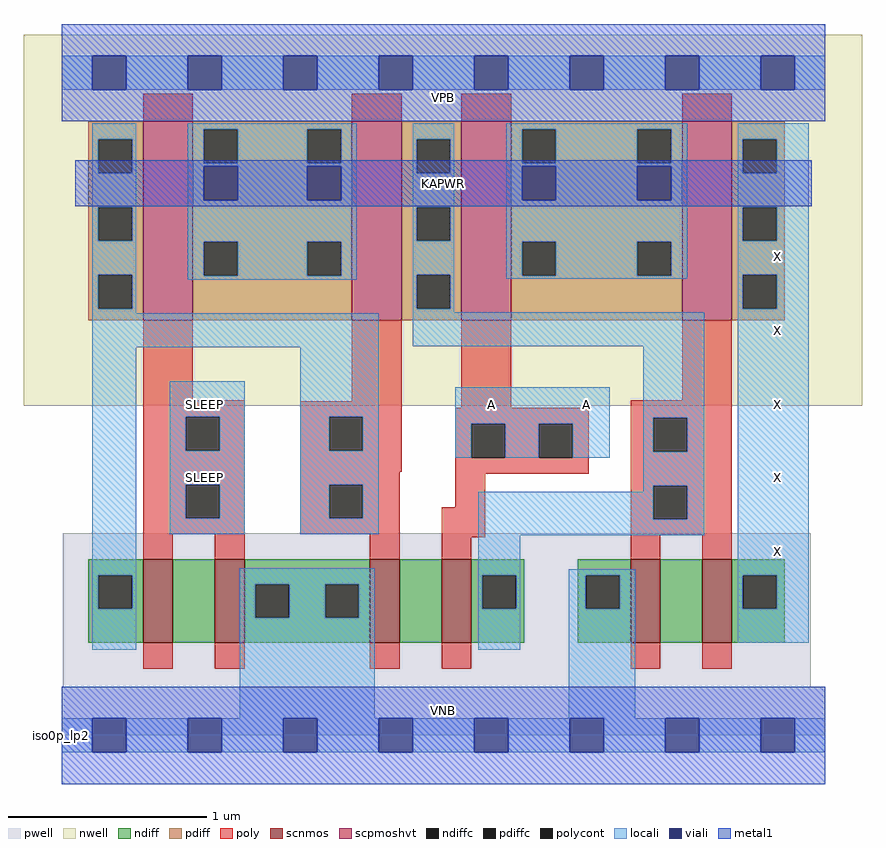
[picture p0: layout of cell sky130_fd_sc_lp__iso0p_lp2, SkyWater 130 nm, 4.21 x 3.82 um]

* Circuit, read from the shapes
.subckt sky130_fd_sc_lp__iso0p_lp2 A SLEEP KAPWR VGND VNB VPB VPWR X
XM1 n1 SLEEP n2 VNB sky130_fd_pr__nfet_01v8 w=0.42 l=0.15
XM2 VGND SLEEP n1 VNB sky130_fd_pr__nfet_01v8 w=0.42 l=0.15
XM3 n3 n2 VGND VNB sky130_fd_pr__nfet_01v8 w=0.42 l=0.15
XM4 n4 A n3 VNB sky130_fd_pr__nfet_01v8 w=0.42 l=0.15
XM5 n5 n4 VGND VNB sky130_fd_pr__nfet_01v8 w=0.42 l=0.15
XM6 X n4 n5 VNB sky130_fd_pr__nfet_01v8 w=0.42 l=0.15
XM7 KAPWR SLEEP n2 VPB sky130_fd_pr__pfet_01v8_hvt w=1 l=0.25
XM8 n4 n2 KAPWR VPB sky130_fd_pr__pfet_01v8_hvt w=1 l=0.25
XM9 KAPWR A n4 VPB sky130_fd_pr__pfet_01v8_hvt w=1 l=0.25
XM10 X n4 KAPWR VPB sky130_fd_pr__pfet_01v8_hvt w=1 l=0.25
.ends

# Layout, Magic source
magic
tech sky130A
magscale 1 2
<< nwell >>
rect -38 331 805 704
<< pwell >>
rect 1 49 753 203
rect 0 0 768 49
<< scnmos >>
rect 82 93 112 177
rect 154 93 184 177
rect 310 93 340 177
rect 382 93 412 177
rect 572 93 602 177
rect 644 93 674 177
<< scpmoshvt >>
rect 82 417 132 617
rect 292 417 342 617
rect 402 417 452 617
rect 624 417 674 617
<< ndiff >>
rect 27 161 82 177
rect 27 127 37 161
rect 71 127 82 161
rect 27 93 82 127
rect 112 93 154 177
rect 184 152 310 177
rect 184 118 195 152
rect 229 118 265 152
rect 299 118 310 152
rect 184 93 310 118
rect 340 93 382 177
rect 412 161 465 177
rect 412 127 423 161
rect 457 127 465 161
rect 412 93 465 127
rect 519 161 572 177
rect 519 127 527 161
rect 561 127 572 161
rect 519 93 572 127
rect 602 93 644 177
rect 674 161 727 177
rect 674 127 685 161
rect 719 127 727 161
rect 674 93 727 127
<< pdiff >>
rect 27 599 82 617
rect 27 565 37 599
rect 71 565 82 599
rect 27 531 82 565
rect 27 497 37 531
rect 71 497 82 531
rect 27 463 82 497
rect 27 429 37 463
rect 71 429 82 463
rect 27 417 82 429
rect 132 609 292 617
rect 132 575 143 609
rect 177 575 247 609
rect 281 575 292 609
rect 132 496 292 575
rect 132 462 143 496
rect 177 462 247 496
rect 281 462 292 496
rect 132 417 292 462
rect 342 599 402 617
rect 342 565 357 599
rect 391 565 402 599
rect 342 531 402 565
rect 342 497 357 531
rect 391 497 402 531
rect 342 463 402 497
rect 342 429 357 463
rect 391 429 402 463
rect 342 417 402 429
rect 452 609 624 617
rect 452 575 463 609
rect 497 575 579 609
rect 613 575 624 609
rect 452 496 624 575
rect 452 462 463 496
rect 497 462 579 496
rect 613 462 624 496
rect 452 417 624 462
rect 674 599 727 617
rect 674 565 685 599
rect 719 565 727 599
rect 674 531 727 565
rect 674 497 685 531
rect 719 497 727 531
rect 674 463 727 497
rect 674 429 685 463
rect 719 429 727 463
rect 674 417 727 429
<< ndiffc >>
rect 37 127 71 161
rect 195 118 229 152
rect 265 118 299 152
rect 423 127 457 161
rect 527 127 561 161
rect 685 127 719 161
<< pdiffc >>
rect 37 565 71 599
rect 37 497 71 531
rect 37 429 71 463
rect 143 575 177 609
rect 247 575 281 609
rect 143 462 177 496
rect 247 462 281 496
rect 357 565 391 599
rect 357 497 391 531
rect 357 429 391 463
rect 463 575 497 609
rect 579 575 613 609
rect 463 462 497 496
rect 579 462 613 496
rect 685 565 719 599
rect 685 497 719 531
rect 685 429 719 463
<< poly >>
rect 82 617 132 645
rect 292 617 342 645
rect 402 617 452 645
rect 624 617 674 645
rect 82 337 132 417
rect 82 320 184 337
rect 292 336 342 417
rect 82 286 125 320
rect 159 286 184 320
rect 82 252 184 286
rect 82 218 125 252
rect 159 218 184 252
rect 82 202 184 218
rect 240 320 342 336
rect 402 329 452 417
rect 624 337 674 417
rect 240 286 269 320
rect 303 286 342 320
rect 240 265 342 286
rect 396 313 530 329
rect 396 279 412 313
rect 446 279 480 313
rect 514 279 530 313
rect 240 252 340 265
rect 240 218 269 252
rect 303 218 340 252
rect 396 263 530 279
rect 572 319 674 337
rect 572 285 595 319
rect 629 285 674 319
rect 396 229 426 263
rect 240 202 340 218
rect 82 177 112 202
rect 154 177 184 202
rect 310 177 340 202
rect 382 199 426 229
rect 572 251 674 285
rect 572 217 595 251
rect 629 217 674 251
rect 572 201 674 217
rect 382 177 412 199
rect 572 177 602 201
rect 644 177 674 201
rect 82 67 112 93
rect 154 67 184 93
rect 310 67 340 93
rect 382 67 412 93
rect 572 67 602 93
rect 644 67 674 93
<< polycont >>
rect 125 286 159 320
rect 125 218 159 252
rect 269 286 303 320
rect 412 279 446 313
rect 480 279 514 313
rect 269 218 303 252
rect 595 285 629 319
rect 595 217 629 251
<< locali >>
rect 0 649 31 683
rect 65 649 127 683
rect 161 649 223 683
rect 257 649 319 683
rect 353 649 415 683
rect 449 649 511 683
rect 545 649 607 683
rect 641 649 703 683
rect 737 649 768 683
rect 31 599 75 615
rect 31 565 37 599
rect 71 565 75 599
rect 31 531 75 565
rect 31 497 37 531
rect 71 497 75 531
rect 31 463 75 497
rect 31 429 37 463
rect 71 429 75 463
rect 127 609 297 615
rect 127 575 143 609
rect 177 575 247 609
rect 281 575 297 609
rect 127 572 297 575
rect 127 538 143 572
rect 177 538 247 572
rect 281 538 297 572
rect 127 496 297 538
rect 127 462 143 496
rect 177 462 247 496
rect 281 462 297 496
rect 127 458 297 462
rect 353 599 395 615
rect 353 565 357 599
rect 391 565 395 599
rect 353 531 395 565
rect 353 497 357 531
rect 391 497 395 531
rect 353 463 395 497
rect 31 424 75 429
rect 353 429 357 463
rect 391 429 395 463
rect 447 609 629 615
rect 447 575 463 609
rect 497 575 579 609
rect 613 575 629 609
rect 447 572 629 575
rect 447 538 463 572
rect 497 538 579 572
rect 613 538 629 572
rect 447 496 629 538
rect 447 462 463 496
rect 497 462 579 496
rect 613 462 629 496
rect 447 459 629 462
rect 680 599 751 615
rect 680 565 685 599
rect 719 565 751 599
rect 680 531 751 565
rect 680 497 685 531
rect 719 497 751 531
rect 680 463 751 497
rect 353 425 395 429
rect 680 429 685 463
rect 719 429 751 463
rect 31 390 319 424
rect 353 391 646 425
rect 31 161 75 390
rect 109 320 184 356
rect 109 286 125 320
rect 159 286 184 320
rect 109 252 184 286
rect 109 218 125 252
rect 159 218 184 252
rect 109 202 184 218
rect 240 320 319 390
rect 240 286 269 320
rect 303 286 319 320
rect 240 252 319 286
rect 396 313 551 350
rect 396 279 412 313
rect 446 279 480 313
rect 514 279 551 313
rect 585 319 646 391
rect 585 285 595 319
rect 629 285 646 319
rect 240 218 269 252
rect 303 218 319 252
rect 585 251 646 285
rect 585 245 595 251
rect 240 202 319 218
rect 419 217 595 245
rect 629 217 646 251
rect 419 201 646 217
rect 31 127 37 161
rect 71 127 75 161
rect 31 86 75 127
rect 179 152 315 168
rect 179 118 195 152
rect 229 118 265 152
rect 299 118 315 152
rect 179 17 315 118
rect 419 161 461 201
rect 419 127 423 161
rect 457 127 461 161
rect 419 86 461 127
rect 510 161 577 167
rect 510 127 527 161
rect 561 127 577 161
rect 510 17 577 127
rect 680 161 751 429
rect 680 127 685 161
rect 719 127 751 161
rect 680 93 751 127
rect 0 -17 31 17
rect 65 -17 127 17
rect 161 -17 223 17
rect 257 -17 319 17
rect 353 -17 415 17
rect 449 -17 511 17
rect 545 -17 607 17
rect 641 -17 703 17
rect 737 -17 768 17
<< viali >>
rect 31 649 65 683
rect 127 649 161 683
rect 223 649 257 683
rect 319 649 353 683
rect 415 649 449 683
rect 511 649 545 683
rect 607 649 641 683
rect 703 649 737 683
rect 143 538 177 572
rect 247 538 281 572
rect 463 538 497 572
rect 579 538 613 572
rect 31 -17 65 17
rect 127 -17 161 17
rect 223 -17 257 17
rect 319 -17 353 17
rect 415 -17 449 17
rect 511 -17 545 17
rect 607 -17 641 17
rect 703 -17 737 17
<< metal1 >>
rect 0 683 768 715
rect 0 649 31 683
rect 65 649 127 683
rect 161 649 223 683
rect 257 649 319 683
rect 353 649 415 683
rect 449 649 511 683
rect 545 649 607 683
rect 641 649 703 683
rect 737 649 768 683
rect 0 617 768 649
rect 14 572 754 578
rect 14 538 143 572
rect 177 538 247 572
rect 281 538 463 572
rect 497 538 579 572
rect 613 538 754 572
rect 14 532 754 538
rect 0 17 768 49
rect 0 -17 31 17
rect 65 -17 127 17
rect 161 -17 223 17
rect 257 -17 319 17
rect 353 -17 415 17
rect 449 -17 511 17
rect 545 -17 607 17
rect 641 -17 703 17
rect 737 -17 768 17
rect 0 -49 768 -17
<< labels >>
flabel pwell s 0 0 768 49 0 FreeSans 200 0 0 0 VNB
port 5 nsew ground bidirectional
flabel locali s 511 316 545 350 0 FreeSans 200 0 0 0 A
port 1 nsew signal input
flabel locali s 703 390 737 424 0 FreeSans 200 0 0 0 X
port 8 nsew signal output
flabel locali s 703 464 737 498 0 FreeSans 200 0 0 0 X
port 8 nsew signal output
flabel locali s 703 168 737 202 0 FreeSans 200 0 0 0 X
port 8 nsew signal output
flabel locali s 703 316 737 350 0 FreeSans 200 0 0 0 X
port 8 nsew signal output
flabel locali s 127 316 161 350 0 FreeSans 200 0 0 0 SLEEP
port 2 nsew signal input
flabel locali s 703 242 737 276 0 FreeSans 200 0 0 0 X
port 8 nsew signal output
flabel locali s 415 316 449 350 0 FreeSans 200 0 0 0 A
port 1 nsew signal input
flabel locali s 127 242 161 276 0 FreeSans 200 0 0 0 SLEEP
port 2 nsew signal input
flabel nwell s 0 617 768 666 0 FreeSans 200 0 0 0 VPB
port 6 nsew power bidirectional
rlabel comment s 0 0 0 0 4 iso0p_lp2
flabel metal1 s 14 532 754 578 0 FreeSans 340 0 0 0 KAPWR
port 3 nsew power bidirectional
flabel metal1 s 0 617 768 666 0 FreeSans 200 0 0 0 VPWR
port 7 nsew power bidirectional
flabel metal1 s 0 0 768 49 0 FreeSans 200 0 0 0 VGND
port 4 nsew ground bidirectional
<< properties >>
string LEFsite unit
string LEFclass CORE
string FIXED_BBOX 0 0 768 666
string GDS_FILE $PDKPATH/libs.ref/sky130_fd_sc_lp/gds/sky130_fd_sc_lp.gds
string LEFsymmetry X Y R90
string GDS_END 5919108
string GDS_START 5911916
<< end >>
